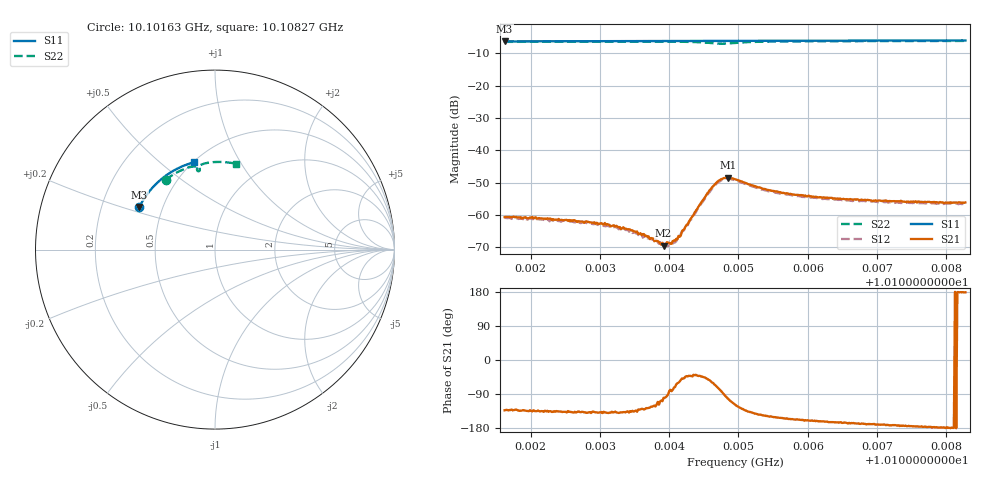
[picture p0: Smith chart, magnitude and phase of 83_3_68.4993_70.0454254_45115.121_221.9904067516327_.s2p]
#  HZ  S  RI  R  50.00
! Rohde & Schwarz Vector Network Analyzer
! Rohde-Schwarz,ZNB20-2Port,1311601062101988,3.16
! Created: UTC 3/20/2024, 5:07:24 PM
! freq[Hz]  re:S11  im:S11  re:S21  im:S21  re:S12  im:S12  re:S22  im:S22
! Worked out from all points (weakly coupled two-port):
!   401 points, 10.10163 GHz to 10.10827 GHz, reference 50 ohm
!   highest |S21| = -48.46 dB at 10.10485 GHz (marker M1); lowest = -69.6 dB at 10.10392 GHz (marker M2)
!   lowest |S11| = -6.3 dB at 10.10163 GHz (marker M3), VSWR 2.87, Z = 18.4 + j11.4 ohm
!   |S11| at or under -10 dB: nowhere
!   |S22| runs from -7.0 to -6.1 dB; largest |S21 - S12| = 0.00038
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1.0101626e10  -0.4213 0.2378  -0.000625 -0.000677  -0.000548 -0.000712  -0.2753 0.3884
1.0102041e10  -0.4094 0.2601  -0.000597 -0.000649  -0.000569 -0.000637  -0.2536 0.4044
1.010274e10  -0.3869 0.2962  -0.000574 -0.00054  -0.000507 -0.000557  -0.2146 0.4286
1.0103105e10  -0.3737 0.3141  -0.000547 -0.000468  -0.000489 -0.000493  -0.193 0.4397
1.0103404e10  -0.3625 0.3286  -0.000425 -0.000417  -0.000391 -0.000444  -0.1744 0.4478
1.010367e10  -0.352 0.3407  -0.000285 -0.000381  -0.000263 -0.000372  -0.1571 0.4545
1.0103853e10  -0.3447 0.3489  -0.000178 -0.000337  -0.000112 -0.000338  -0.1444 0.4583
1.010392e10  -0.3419 0.3519  -5.71e-05 -0.000328  -8.5e-05 -0.000346  -0.1396 0.4597
1.0104003e10  -0.3385 0.3555  5.42e-05 -0.000366  5.37e-05 -0.000339  -0.1335 0.4611
1.0104069e10  -0.3355 0.3584  0.000118 -0.000382  0.000145 -0.000353  -0.1284 0.462
1.0104136e10  -0.3328 0.3614  0.000239 -0.000408  0.000271 -0.000362  -0.1231 0.4628
1.0104186e10  -0.3306 0.3633  0.000371 -0.000425  0.000397 -0.000375  -0.119 0.463
1.0104452e10  -0.3189 0.3746  0.0011 -0.00101  0.00113 -0.000862  -0.0955 0.4598
1.0104618e10  -0.3115 0.3813  0.00136 -0.00228  0.00153 -0.00203  -0.0847 0.4476
1.0104734e10  -0.3061 0.3859  0.000651 -0.0034  0.000892 -0.00319  -0.0881 0.4377
1.0104851e10  -0.301 0.3905  -0.000826 -0.00368  -0.000449 -0.00361  -0.0977 0.4393
1.010495e10  -0.2964 0.3943  -0.00166 -0.00317  -0.00132 -0.00317  -0.1003 0.4483
1.0105449e10  -0.2724 0.4128  -0.00207 -0.00122  -0.00187 -0.00134  -0.0694 0.4761
1.0106064e10  -0.2415 0.4336  -0.00178 -0.000666  -0.0017 -0.000764  -0.0263 0.4857
1.0106612e10  -0.2125 0.4497  -0.00172 -0.000385  -0.00157 -0.000527  0.0105 0.4883
1.0107178e10  -0.1815 0.4644  -0.00162 -0.000218  -0.00153 -0.000368  0.0475 0.4877
1.0108275e10  -0.1191 0.4864  -0.00155 3.72e-05  -0.00147 -0.000137  0.1173 0.4785
